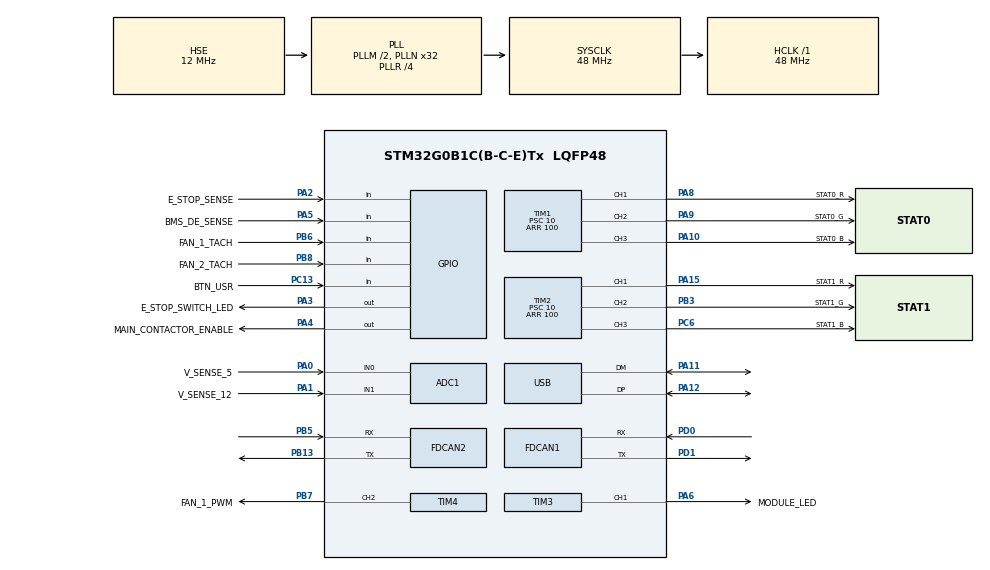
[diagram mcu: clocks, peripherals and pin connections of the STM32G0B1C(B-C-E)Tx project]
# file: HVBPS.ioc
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ADC1.NbrOfConversion=1
ADC1.NbrOfConversionFlag=0
ADC1.SelectedChannel=ADC_CHANNEL_0|ADC_CHANNEL_1|ADC_CHANNEL_TEMPSENSOR|ADC_CHANNEL_VREFINT
ADC1.Sequencer=NOT_FULLY_CONFIGURABLE
ADC1.master=1
FDCAN1.CalculateBaudRateNominal=250000
FDCAN1.CalculateTimeBitNominal=4000
FDCAN1.CalculateTimeQuantumNominal=250.0
FDCAN1.NominalPrescaler=12
FDCAN1.NominalTimeSeg1=13
FDCAN1.NominalTimeSeg2=2
FDCAN2.CalculateBaudRateNominal=500000
FDCAN2.CalculateTimeBitNominal=2000
FDCAN2.CalculateTimeQuantumNominal=125.0
FDCAN2.NominalPrescaler=6
FDCAN2.NominalTimeSeg1=13
FDCAN2.NominalTimeSeg2=2
Mcu.Family=STM32G0
Mcu.Name=STM32G0B1C(B-C-E)Tx
Mcu.Package=LQFP48
NVIC.TIM16_FDCAN_IT0_IRQn=true\:0\:0\:false\:false\:true\:true\:true\:true
NVIC.TIM17_FDCAN_IT1_IRQn=true\:0\:0\:false\:false\:true\:true\:true\:true
PA0.GPIO_Label=V_SENSE_5
PA0.Mode=IN0
PA0.Signal=ADC1_IN0
PA1.GPIO_Label=V_SENSE_12
PA1.Mode=IN1
PA1.Signal=ADC1_IN1
PA10.GPIO_Label=STAT0_B
PA10.Signal=S_TIM1_CH3
PA11\ [PA9].Mode=Device
PA11\ [PA9].Signal=USB_DM
PA12\ [PA10].Mode=Device
PA12\ [PA10].Signal=USB_DP
PA13.Mode=Serial_Wire
PA13.Signal=SYS_SWDIO
PA14-BOOT0.Mode=Serial_Wire
PA14-BOOT0.Signal=SYS_SWCLK
PA15.GPIO_Label=STAT1_R
PA15.Signal=S_TIM2_CH1_ETR
PA2.GPIO_Label=E_STOP_SENSE
PA2.Signal=GPIO_Input
PA3.GPIO_Label=E_STOP_SWITCH_LED
PA3.Signal=GPIO_Output
PA4.GPIO_Label=MAIN_CONTACTOR_ENABLE
PA4.Signal=GPIO_Output
PA5.GPIO_Label=BMS_DE_SENSE
PA5.Signal=GPIO_Input
PA6.GPIO_Label=MODULE_LED
PA6.Signal=S_TIM3_CH1
PA8.GPIO_Label=STAT0_R
PA8.Signal=S_TIM1_CH1
PA9.GPIO_Label=STAT0_G
PA9.Signal=S_TIM1_CH2
PB13.Mode=FDCAN_Activate
PB13.Signal=FDCAN2_TX
PB3.GPIO_Label=STAT1_G
PB3.Signal=S_TIM2_CH2
PB5.Mode=FDCAN_Activate
PB5.Signal=FDCAN2_RX
PB6.GPIO_Label=FAN_1_TACH
PB6.Signal=GPIO_Input
PB7.GPIO_Label=FAN_1_PWM
PB7.Signal=S_TIM4_CH2
PB8.GPIO_Label=FAN_2_TACH
PB8.Signal=GPIO_Input
PB9.GPIO_Label=FAN_2_PWM
PB9.Signal=S_TIM4_CH4
PC13.GPIO_Label=BTN_USR
PC13.Signal=GPIO_Input
PC14-OSC32_IN\ (PC14).Mode=LSE-External-Oscillator
PC14-OSC32_IN\ (PC14).Signal=RCC_OSC32_IN
PC15-OSC32_OUT\ (PC15).Mode=LSE-External-Oscillator
PC15-OSC32_OUT\ (PC15).Signal=RCC_OSC32_OUT
PC6.GPIO_Label=STAT1_B
PC6.Signal=S_TIM2_CH3
PD0.Mode=FDCAN_Activate
PD0.Signal=FDCAN1_RX
PD1.Mode=FDCAN_Activate
PD1.Signal=FDCAN1_TX
PF0-OSC_IN\ (PF0).Mode=HSE-External-Oscillator
PF0-OSC_IN\ (PF0).Signal=RCC_OSC_IN
PF1-OSC_OUT\ (PF1).Mode=HSE-External-Oscillator
PF1-OSC_OUT\ (PF1).Signal=RCC_OSC_OUT
ProjectManager.HeapSize=0x200
ProjectManager.StackSize=0x400
ProjectManager.TargetToolchain=CMake
RCC.ADCFreq_Value=48000000
RCC.AHBFreq_Value=48000000
RCC.CortexFreq_Value=48000000
RCC.EXTERNAL_CLOCK_VALUE=48000
RCC.HCLKFreq_Value=48000000
RCC.HSE_VALUE=12000000
RCC.HSI48_VALUE=48000000
RCC.HSI_VALUE=16000000
RCC.PLLM=RCC_PLLM_DIV2
RCC.PLLN=32
RCC.PLLR=RCC_PLLR_DIV4
RCC.PLLSourceVirtual=RCC_PLLSOURCE_HSE
RCC.SYSCLKFreq_VALUE=48000000
RCC.SYSCLKSource=RCC_SYSCLKSOURCE_PLLCLK
RCC.USBFreq_Value=48000000
RCC.VCOOutputFreq_Value=192000000
SH.S_TIM1_CH1.0=TIM1_CH1,PWM Generation1 CH1
SH.S_TIM1_CH2.0=TIM1_CH2,PWM Generation2 CH2
SH.S_TIM1_CH3.0=TIM1_CH3,PWM Generation3 CH3
SH.S_TIM2_CH1_ETR.0=TIM2_CH1,PWM Generation1 CH1
SH.S_TIM2_CH2.0=TIM2_CH2,PWM Generation2 CH2
SH.S_TIM2_CH3.0=TIM2_CH3,PWM Generation3 CH3
SH.S_TIM3_CH1.0=TIM3_CH1,PWM Generation1 CH1
SH.S_TIM4_CH2.0=TIM4_CH2,PWM Generation2 CH2
SH.S_TIM4_CH4.0=TIM4_CH4
TIM1.Channel-PWM\ Generation1\ CH1=TIM_CHANNEL_1
TIM1.Channel-PWM\ Generation2\ CH2=TIM_CHANNEL_2
TIM1.Channel-PWM\ Generation3\ CH3=TIM_CHANNEL_3
TIM1.Period=100
TIM1.Prescaler=10
TIM2.Channel-PWM\ Generation1\ CH1=TIM_CHANNEL_1
TIM2.Channel-PWM\ Generation2\ CH2=TIM_CHANNEL_2
TIM2.Channel-PWM\ Generation3\ CH3=TIM_CHANNEL_3
TIM2.Period=100
TIM2.Prescaler=10
TIM3.Channel-PWM\ Generation1\ CH1=TIM_CHANNEL_1
TIM3.Period=100
TIM3.Prescaler=10
TIM4.Channel-PWM\ Generation2\ CH2=TIM_CHANNEL_2
TIM4.Period=10
TIM4.Prescaler=192
VP_ADC1_TempSens_Input.Mode=IN-TempSens
VP_ADC1_Vref_Input.Mode=IN-Vrefint
VP_SYS_VS_DBSignals.Mode=DisableDeadBatterySignals
board=custom

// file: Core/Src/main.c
/* USER CODE BEGIN Header */
/**
  ******************************************************************************
  * @file           : main.c
  * @brief          : Main program body
  ******************************************************************************
  * @attention
  *
  * Copyright (c) 2026 STMicroelectronics.
  * All rights reserved.
  *
  * This software is licensed under terms that can be found in the LICENSE file
  * in the root directory of this software component.
  * If no LICENSE file comes with this software, it is provided AS-IS.
  *
  ******************************************************************************
  */
/* USER CODE END Header */
#include "main.h"

/* USER CODE BEGIN Includes */

#include "LV3_CAN.h"
#include "orion_bms_interface.h"
#include "lv3_can_bindings.h"

/* USER CODE END Includes */

/* USER CODE BEGIN PD */

// MODULE_LED breathes at this period (ms) while the contactor is disabled, mirroring
// the backplane-LED breathing effect from the original G4 HV-BPS.
#define MODULE_LED_BREATHE_PERIOD_MS 2000

#define LOCAL_CELL_OVERVOLTAGE 41900 // * 0.1 mV
#define LOCAL_CELL_UNDERVOLTAGE 28100  // * 0.1 mV
#define LOCAL_PACK_OVERCURRENT 799 // * 0.1 A
#define LOCAL_PACK_UNDERCURRENT -250 // * 0.1 A
#define LOCAL_PACK_MAX_DISCHARGE_TEMP 59 // C
#define LOCAL_PACK_MIN_DISCHARGE_TEMP 0 // C
#define LOCAL_PACK_MAX_CHARGE_TEMP 44 // C
#define LOCAL_PACK_MIN_CHARGE_TEMP 10 // C

/* USER CODE END PD */

ADC_HandleTypeDef hadc1;

FDCAN_HandleTypeDef hfdcan1;
FDCAN_HandleTypeDef hfdcan2;

TIM_HandleTypeDef htim1;
TIM_HandleTypeDef htim2;
TIM_HandleTypeDef htim3;
TIM_HandleTypeDef htim4;

PCD_HandleTypeDef hpcd_USB_DRD_FS;

/* USER CODE BEGIN PV */

// bitfield union for the possible faults; layout defined by the hv_fault XMacro
// in the LV3 CAN subsystem, and bound to the hv_fault CAN parameter via .raw
hvbps_faults_t hvbps_faults = {.raw = 0};

int faults_latched = 0; // whether faults have latched

/* USER CODE END PV */

void SystemClock_Config(void);
static void MX_GPIO_Init(void);
static void MX_FDCAN1_Init(void);
static void MX_USB_DRD_FS_PCD_Init(void);
static void MX_TIM1_Init(void);
static void MX_TIM2_Init(void);
static void MX_ADC1_Init(void);
static void MX_FDCAN2_Init(void);
static void MX_TIM4_Init(void);
static void MX_TIM3_Init(void);

/* USER CODE BEGIN 0 */

// local_contactor_enabled: latched on/off state requested locally over CAN
// (there's no physical BOOT0-style button on this board, unlike the old G4
// HV-BPS, so this can currently only be toggled via the
// toggle_hv_bps_local_enable CAN trigger).
uint32_t local_contactor_enabled = 0;

/* USER CODE END 0 */

int main(void)
{

  /* MCU Configuration--------------------------------------------------------*/

  /* Reset of all peripherals, Initializes the Flash interface and the Systick. */
  HAL_Init();

  /* Configure the system clock */
  SystemClock_Config();

  /* Initialize all configured peripherals */
  MX_GPIO_Init();
  MX_FDCAN1_Init();
  MX_USB_DRD_FS_PCD_Init();
  MX_TIM1_Init();
  MX_TIM2_Init();
  MX_ADC1_Init();
  MX_FDCAN2_Init();
  MX_TIM4_Init();
  MX_TIM3_Init();
  /* USER CODE BEGIN 2 */

  // STAT0
  HAL_TIM_PWM_Start(&htim1, TIM_CHANNEL_1);
  HAL_TIM_PWM_Start(&htim1, TIM_CHANNEL_2);
  HAL_TIM_PWM_Start(&htim1, TIM_CHANNEL_3);

  // MODULE_LED
  HAL_TIM_PWM_Start(&htim3, TIM_CHANNEL_1);

  // Fans: run at a fixed duty for now; tach inputs are wired but not yet read.
  HAL_TIM_PWM_Start(&htim4, TIM_CHANNEL_2);
  HAL_TIM_PWM_Start(&htim4, TIM_CHANNEL_4);
  __HAL_TIM_SET_COMPARE(&htim4, TIM_CHANNEL_2, 10);
  __HAL_TIM_SET_COMPARE(&htim4, TIM_CHANNEL_4, 10);

  GPIO_PinState last_usr_btn_state = HAL_GPIO_ReadPin(BTN_USR_GPIO_Port, BTN_USR_Pin);

  OrionBMS_Init();
  LV3_CAN_Init(12, LV3_CAN_BusMode_Normal, lv3_can_bindings, lv3_can_bindings_count);

  /* USER CODE END 2 */

  /* Infinite loop */
  while (1)
  {

    /* USER CODE BEGIN 3 */

    GPIO_PinState usr_btn_state = HAL_GPIO_ReadPin(BTN_USR_GPIO_Port, BTN_USR_Pin);
    if (usr_btn_state == GPIO_PIN_SET && last_usr_btn_state == GPIO_PIN_RESET) {
      local_contactor_enabled = !local_contactor_enabled;
    }
    last_usr_btn_state = usr_btn_state;

    // CAN trigger: toggle local contactor enable
    if (flag_toggle_local_enable) {
      flag_toggle_local_enable = 0;
      local_contactor_enabled = !local_contactor_enabled;
    }
    // CAN trigger: send OBD2 clear-faults to BMS
    if (flag_send_orion_clear) {
      flag_send_orion_clear = 0;
      OrionBMS_SendClearFaults();
    }

    // Unlatched faults are recomputed from scratch every iteration, so a fault
    // that goes away clears itself. Once latched, the fault word is frozen.
    if (!faults_latched) hvbps_faults.raw = 0;

    // BMS_DE_SENSE polarity carried over from the old G4 firmware's bms_dch_en
    // signal (active = discharge NOT allowed) — verify against schematic.
    GPIO_PinState bms_de_sense = HAL_GPIO_ReadPin(BMS_DE_SENSE_GPIO_Port, BMS_DE_SENSE_Pin);
    GPIO_PinState e_stop_sense = !HAL_GPIO_ReadPin(E_STOP_SENSE_GPIO_Port, E_STOP_SENSE_Pin);

    if (bms_de_sense) hvbps_faults.flags.orion_de_fault = 1;
    if (e_stop_sense) hvbps_faults.flags.e_stop_fault = 1;

    for (int i = 0; i < 24; i++) {
      if (cell_voltages[i] > LOCAL_CELL_OVERVOLTAGE) hvbps_faults.flags.cell_overvoltage = 1;
      if (cell_voltages[i] < LOCAL_CELL_UNDERVOLTAGE)
        hvbps_faults.flags.cell_undervoltage = 1;
    }

    if (reported_pack_current > LOCAL_PACK_OVERCURRENT) hvbps_faults.flags.pack_overcurrent = 1;
    if (reported_pack_current < LOCAL_PACK_UNDERCURRENT) hvbps_faults.flags.pack_undercurrent = 1;

    if (max_thermistor_temp > LOCAL_PACK_MAX_DISCHARGE_TEMP) hvbps_faults.flags.pack_overtemp_discharge = 1;
    if (min_thermistor_temp < LOCAL_PACK_MIN_DISCHARGE_TEMP) hvbps_faults.flags.pack_undertemp_discharge = 1;
    if (max_thermistor_temp > LOCAL_PACK_MAX_CHARGE_TEMP && reported_pack_current < -5) hvbps_faults.flags.pack_overtemp_charge = 1;
    if (min_thermistor_temp < LOCAL_PACK_MIN_CHARGE_TEMP && reported_pack_current < -5) hvbps_faults.flags.pack_undertemp_charge = 1;

    // A fault appearing while the contactor is closed latches it off. main_contactor_enabled
    // still holds last iteration's value here, i.e. whether the contactor is on right now.
    if (main_contactor_enabled && hvbps_faults.raw) faults_latched = 1;

    // Contactor: closed only when requested and completely fault-free.
    main_contactor_enabled = (local_contactor_enabled || lv3c_sw_hv_main) && !hvbps_faults.raw;
    HAL_GPIO_WritePin(MAIN_CONTACTOR_ENABLE_GPIO_Port, MAIN_CONTACTOR_ENABLE_Pin, main_contactor_enabled);

    // E-stop switch LED mirrors the sense pin (illuminated switch wiring TBD)
    HAL_GPIO_WritePin(E_STOP_SWITCH_LED_GPIO_Port, E_STOP_SWITCH_LED_Pin, e_stop_sense);

    // STAT0: red = faults latched, yellow = faults present, blue = contactor on,
    // green = healthy and idle.
    uint8_t stat_r = 0, stat_g = 0, stat_b = 0;
    if (faults_latched)              { stat_r = 100; }
    else if (hvbps_faults.raw)       { stat_r = 100; stat_g = 100; }
    else if (main_contactor_enabled) { stat_b = 100; }
    else                             { stat_g = 100; }
    __HAL_TIM_SET_COMPARE(&htim1, TIM_CHANNEL_2, stat_r);
    __HAL_TIM_SET_COMPARE(&htim1, TIM_CHANNEL_1, stat_g);
    __HAL_TIM_SET_COMPARE(&htim1, TIM_CHANNEL_3, stat_b);

    // MODULE_LED: fades to full brightness when the contactor is enabled, otherwise breathes
    unsigned int tick = HAL_GetTick();
    if (main_contactor_enabled) {
      __HAL_TIM_SET_COMPARE(&htim3, TIM_CHANNEL_1, 100);
    } else {
      unsigned int half = MODULE_LED_BREATHE_PERIOD_MS / 2;
      unsigned int phase = tick % MODULE_LED_BREATHE_PERIOD_MS;
      __HAL_TIM_SET_COMPARE(&htim3, TIM_CHANNEL_1, (phase < half ? phase : MODULE_LED_BREATHE_PERIOD_MS - phase) / (half / 100));
    }

    OrionBMS_Loop();
    LV3_CAN_Loop();
  }
  /* USER CODE END 3 */
}

void SystemClock_Config(void)
{
  RCC_OscInitTypeDef RCC_OscInitStruct = {0};
  RCC_ClkInitTypeDef RCC_ClkInitStruct = {0};

  /** Configure the main internal regulator output voltage
  */
  HAL_PWREx_ControlVoltageScaling(PWR_REGULATOR_VOLTAGE_SCALE1);

  /** Initializes the RCC Oscillators according to the specified parameters
  * in the RCC_OscInitTypeDef structure.
  */
  RCC_OscInitStruct.OscillatorType = RCC_OSCILLATORTYPE_HSE|RCC_OSCILLATORTYPE_HSI48;
  RCC_OscInitStruct.HSEState = RCC_HSE_ON;
  RCC_OscInitStruct.HSI48State = RCC_HSI48_ON;
  RCC_OscInitStruct.PLL.PLLState = RCC_PLL_ON;
  RCC_OscInitStruct.PLL.PLLSource = RCC_PLLSOURCE_HSE;
  RCC_OscInitStruct.PLL.PLLM = RCC_PLLM_DIV2;
  RCC_OscInitStruct.PLL.PLLN = 32;
  RCC_OscInitStruct.PLL.PLLP = RCC_PLLP_DIV2;
  RCC_OscInitStruct.PLL.PLLQ = RCC_PLLQ_DIV2;
  RCC_OscInitStruct.PLL.PLLR = RCC_PLLR_DIV4;
  if (HAL_RCC_OscConfig(&RCC_OscInitStruct) != HAL_OK)
  {
    Error_Handler();
  }

  /** Initializes the CPU, AHB and APB buses clocks
  */
  RCC_ClkInitStruct.ClockType = RCC_CLOCKTYPE_HCLK|RCC_CLOCKTYPE_SYSCLK
                              |RCC_CLOCKTYPE_PCLK1;
  RCC_ClkInitStruct.SYSCLKSource = RCC_SYSCLKSOURCE_PLLCLK;
  RCC_ClkInitStruct.AHBCLKDivider = RCC_SYSCLK_DIV1;
  RCC_ClkInitStruct.APB1CLKDivider = RCC_HCLK_DIV1;

  if (HAL_RCC_ClockConfig(&RCC_ClkInitStruct, FLASH_LATENCY_1) != HAL_OK)
  {
    Error_Handler();
  }
}

static void MX_ADC1_Init(void)
{

  ADC_ChannelConfTypeDef sConfig = {0};

  /** Configure the global features of the ADC (Clock, Resolution, Data Alignment and number of conversion)
  */
  hadc1.Instance = ADC1;
  hadc1.Init.ClockPrescaler = ADC_CLOCK_SYNC_PCLK_DIV2;
  hadc1.Init.Resolution = ADC_RESOLUTION_12B;
  hadc1.Init.DataAlign = ADC_DATAALIGN_RIGHT;
  hadc1.Init.ScanConvMode = ADC_SCAN_SEQ_FIXED;
  hadc1.Init.EOCSelection = ADC_EOC_SINGLE_CONV;
  hadc1.Init.LowPowerAutoWait = DISABLE;
  hadc1.Init.LowPowerAutoPowerOff = DISABLE;
  hadc1.Init.ContinuousConvMode = DISABLE;
  hadc1.Init.NbrOfConversion = 1;
  hadc1.Init.DiscontinuousConvMode = DISABLE;
  hadc1.Init.ExternalTrigConv = ADC_SOFTWARE_START;
  hadc1.Init.ExternalTrigConvEdge = ADC_EXTERNALTRIGCONVEDGE_NONE;
  hadc1.Init.DMAContinuousRequests = DISABLE;
  hadc1.Init.Overrun = ADC_OVR_DATA_PRESERVED;
  hadc1.Init.SamplingTimeCommon1 = ADC_SAMPLETIME_1CYCLE_5;
  hadc1.Init.OversamplingMode = DISABLE;
  hadc1.Init.TriggerFrequencyMode = ADC_TRIGGER_FREQ_HIGH;
  if (HAL_ADC_Init(&hadc1) != HAL_OK)
  {
    Error_Handler();
  }

  /** Configure Regular Channel
  */
  sConfig.Channel = ADC_CHANNEL_0;
  sConfig.Rank = ADC_RANK_CHANNEL_NUMBER;
  if (HAL_ADC_ConfigChannel(&hadc1, &sConfig) != HAL_OK)
  {
    Error_Handler();
  }

  /** Configure Regular Channel
  */
  sConfig.Channel = ADC_CHANNEL_1;
  if (HAL_ADC_ConfigChannel(&hadc1, &sConfig) != HAL_OK)
  {
    Error_Handler();
  }

  /** Configure Regular Channel
  */
  sConfig.Channel = ADC_CHANNEL_TEMPSENSOR;
  if (HAL_ADC_ConfigChannel(&hadc1, &sConfig) != HAL_OK)
  {
    Error_Handler();
  }

  /** Configure Regular Channel
  */
  sConfig.Channel = ADC_CHANNEL_VREFINT;
  if (HAL_ADC_ConfigChannel(&hadc1, &sConfig) != HAL_OK)
  {
    Error_Handler();
  }

}

static void MX_FDCAN1_Init(void)
{

  hfdcan1.Instance = FDCAN1;
  hfdcan1.Init.ClockDivider = FDCAN_CLOCK_DIV1;
  hfdcan1.Init.FrameFormat = FDCAN_FRAME_CLASSIC;
  hfdcan1.Init.Mode = FDCAN_MODE_NORMAL;
  hfdcan1.Init.AutoRetransmission = DISABLE;
  hfdcan1.Init.TransmitPause = DISABLE;
  hfdcan1.Init.ProtocolException = DISABLE;
  hfdcan1.Init.NominalPrescaler = 12;
  hfdcan1.Init.NominalSyncJumpWidth = 1;
  hfdcan1.Init.NominalTimeSeg1 = 13;
  hfdcan1.Init.NominalTimeSeg2 = 2;
  hfdcan1.Init.DataPrescaler = 1;
  hfdcan1.Init.DataSyncJumpWidth = 1;
  hfdcan1.Init.DataTimeSeg1 = 1;
  hfdcan1.Init.DataTimeSeg2 = 1;
  hfdcan1.Init.StdFiltersNbr = 0;
  hfdcan1.Init.ExtFiltersNbr = 0;
  hfdcan1.Init.TxFifoQueueMode = FDCAN_TX_FIFO_OPERATION;
  if (HAL_FDCAN_Init(&hfdcan1) != HAL_OK)
  {
    Error_Handler();
  }

}

static void MX_FDCAN2_Init(void)
{

  hfdcan2.Instance = FDCAN2;
  hfdcan2.Init.ClockDivider = FDCAN_CLOCK_DIV1;
  hfdcan2.Init.FrameFormat = FDCAN_FRAME_CLASSIC;
  hfdcan2.Init.Mode = FDCAN_MODE_NORMAL;
  hfdcan2.Init.AutoRetransmission = DISABLE;
  hfdcan2.Init.TransmitPause = DISABLE;
  hfdcan2.Init.ProtocolException = DISABLE;
  hfdcan2.Init.NominalPrescaler = 6;
  hfdcan2.Init.NominalSyncJumpWidth = 1;
  hfdcan2.Init.NominalTimeSeg1 = 13;
  hfdcan2.Init.NominalTimeSeg2 = 2;
  hfdcan2.Init.DataPrescaler = 1;
  hfdcan2.Init.DataSyncJumpWidth = 1;
  hfdcan2.Init.DataTimeSeg1 = 1;
  hfdcan2.Init.DataTimeSeg2 = 1;
  hfdcan2.Init.StdFiltersNbr = 0;
  hfdcan2.Init.ExtFiltersNbr = 0;
  hfdcan2.Init.TxFifoQueueMode = FDCAN_TX_FIFO_OPERATION;
  if (HAL_FDCAN_Init(&hfdcan2) != HAL_OK)
  {
    Error_Handler();
  }

}

static void MX_TIM1_Init(void)
{

  TIM_MasterConfigTypeDef sMasterConfig = {0};
  TIM_OC_InitTypeDef sConfigOC = {0};
  TIM_BreakDeadTimeConfigTypeDef sBreakDeadTimeConfig = {0};

  htim1.Instance = TIM1;
  htim1.Init.Prescaler = 10;
  htim1.Init.CounterMode = TIM_COUNTERMODE_UP;
  htim1.Init.Period = 100;
  htim1.Init.ClockDivision = TIM_CLOCKDIVISION_DIV1;
  htim1.Init.RepetitionCounter = 0;
  htim1.Init.AutoReloadPreload = TIM_AUTORELOAD_PRELOAD_DISABLE;
  if (HAL_TIM_PWM_Init(&htim1) != HAL_OK)
  {
    Error_Handler();
  }
  sMasterConfig.MasterOutputTrigger = TIM_TRGO_RESET;
  sMasterConfig.MasterOutputTrigger2 = TIM_TRGO2_RESET;
  sMasterConfig.MasterSlaveMode = TIM_MASTERSLAVEMODE_DISABLE;
  if (HAL_TIMEx_MasterConfigSynchronization(&htim1, &sMasterConfig) != HAL_OK)
  {
    Error_Handler();
  }
  sConfigOC.OCMode = TIM_OCMODE_PWM1;
  sConfigOC.Pulse = 0;
  sConfigOC.OCPolarity = TIM_OCPOLARITY_HIGH;
  sConfigOC.OCNPolarity = TIM_OCNPOLARITY_HIGH;
  sConfigOC.OCFastMode = TIM_OCFAST_DISABLE;
  sConfigOC.OCIdleState = TIM_OCIDLESTATE_RESET;
  sConfigOC.OCNIdleState = TIM_OCNIDLESTATE_RESET;
  if (HAL_TIM_PWM_ConfigChannel(&htim1, &sConfigOC, TIM_CHANNEL_1) != HAL_OK)
  {
    Error_Handler();
  }
  if (HAL_TIM_PWM_ConfigChannel(&htim1, &sConfigOC, TIM_CHANNEL_2) != HAL_OK)
  {
    Error_Handler();
  }
  if (HAL_TIM_PWM_ConfigChannel(&htim1, &sConfigOC, TIM_CHANNEL_3) != HAL_OK)
  {
    Error_Handler();
  }
  sBreakDeadTimeConfig.OffStateRunMode = TIM_OSSR_DISABLE;
  sBreakDeadTimeConfig.OffStateIDLEMode = TIM_OSSI_DISABLE;
  sBreakDeadTimeConfig.LockLevel = TIM_LOCKLEVEL_OFF;
  sBreakDeadTimeConfig.DeadTime = 0;
  sBreakDeadTimeConfig.BreakState = TIM_BREAK_DISABLE;
  sBreakDeadTimeConfig.BreakPolarity = TIM_BREAKPOLARITY_HIGH;
  sBreakDeadTimeConfig.BreakFilter = 0;
  sBreakDeadTimeConfig.BreakAFMode = TIM_BREAK_AFMODE_INPUT;
  sBreakDeadTimeConfig.Break2State = TIM_BREAK2_DISABLE;
  sBreakDeadTimeConfig.Break2Polarity = TIM_BREAK2POLARITY_HIGH;
  sBreakDeadTimeConfig.Break2Filter = 0;
  sBreakDeadTimeConfig.Break2AFMode = TIM_BREAK_AFMODE_INPUT;
  sBreakDeadTimeConfig.AutomaticOutput = TIM_AUTOMATICOUTPUT_DISABLE;
  if (HAL_TIMEx_ConfigBreakDeadTime(&htim1, &sBreakDeadTimeConfig) != HAL_OK)
  {
    Error_Handler();
  }
  HAL_TIM_MspPostInit(&htim1);

}

static void MX_TIM2_Init(void)
{

  TIM_MasterConfigTypeDef sMasterConfig = {0};
  TIM_OC_InitTypeDef sConfigOC = {0};

  htim2.Instance = TIM2;
  htim2.Init.Prescaler = 10;
  htim2.Init.CounterMode = TIM_COUNTERMODE_UP;
  htim2.Init.Period = 100;
  htim2.Init.ClockDivision = TIM_CLOCKDIVISION_DIV1;
  htim2.Init.AutoReloadPreload = TIM_AUTORELOAD_PRELOAD_DISABLE;
  if (HAL_TIM_PWM_Init(&htim2) != HAL_OK)
  {
    Error_Handler();
  }
  sMasterConfig.MasterOutputTrigger = TIM_TRGO_RESET;
  sMasterConfig.MasterSlaveMode = TIM_MASTERSLAVEMODE_DISABLE;
  if (HAL_TIMEx_MasterConfigSynchronization(&htim2, &sMasterConfig) != HAL_OK)
  {
    Error_Handler();
  }
  sConfigOC.OCMode = TIM_OCMODE_PWM1;
  sConfigOC.Pulse = 0;
  sConfigOC.OCPolarity = TIM_OCPOLARITY_HIGH;
  sConfigOC.OCFastMode = TIM_OCFAST_DISABLE;
  if (HAL_TIM_PWM_ConfigChannel(&htim2, &sConfigOC, TIM_CHANNEL_1) != HAL_OK)
  {
    Error_Handler();
  }
  if (HAL_TIM_PWM_ConfigChannel(&htim2, &sConfigOC, TIM_CHANNEL_2) != HAL_OK)
  {
    Error_Handler();
  }
  if (HAL_TIM_PWM_ConfigChannel(&htim2, &sConfigOC, TIM_CHANNEL_3) != HAL_OK)
  {
    Error_Handler();
  }
  HAL_TIM_MspPostInit(&htim2);

}

static void MX_TIM3_Init(void)
{

  TIM_MasterConfigTypeDef sMasterConfig = {0};
  TIM_OC_InitTypeDef sConfigOC = {0};

  htim3.Instance = TIM3;
  htim3.Init.Prescaler = 10;
  htim3.Init.CounterMode = TIM_COUNTERMODE_UP;
  htim3.Init.Period = 100;
  htim3.Init.ClockDivision = TIM_CLOCKDIVISION_DIV1;
  htim3.Init.AutoReloadPreload = TIM_AUTORELOAD_PRELOAD_DISABLE;
  if (HAL_TIM_PWM_Init(&htim3) != HAL_OK)
  {
    Error_Handler();
  }
  sMasterConfig.MasterOutputTrigger = TIM_TRGO_RESET;
  sMasterConfig.MasterSlaveMode = TIM_MASTERSLAVEMODE_DISABLE;
  if (HAL_TIMEx_MasterConfigSynchronization(&htim3, &sMasterConfig) != HAL_OK)
  {
    Error_Handler();
  }
  sConfigOC.OCMode = TIM_OCMODE_PWM1;
  sConfigOC.Pulse = 0;
  sConfigOC.OCPolarity = TIM_OCPOLARITY_HIGH;
  sConfigOC.OCFastMode = TIM_OCFAST_DISABLE;
  if (HAL_TIM_PWM_ConfigChannel(&htim3, &sConfigOC, TIM_CHANNEL_1) != HAL_OK)
  {
    Error_Handler();
  }
  HAL_TIM_MspPostInit(&htim3);

}

static void MX_TIM4_Init(void)
{

  TIM_MasterConfigTypeDef sMasterConfig = {0};
  TIM_OC_InitTypeDef sConfigOC = {0};

  htim4.Instance = TIM4;
  htim4.Init.Prescaler = 192;
  htim4.Init.CounterMode = TIM_COUNTERMODE_UP;
  htim4.Init.Period = 10;
  htim4.Init.ClockDivision = TIM_CLOCKDIVISION_DIV1;
  htim4.Init.AutoReloadPreload = TIM_AUTORELOAD_PRELOAD_DISABLE;
  if (HAL_TIM_PWM_Init(&htim4) != HAL_OK)
  {
    Error_Handler();
  }
  sMasterConfig.MasterOutputTrigger = TIM_TRGO_RESET;
  sMasterConfig.MasterSlaveMode = TIM_MASTERSLAVEMODE_DISABLE;
  if (HAL_TIMEx_MasterConfigSynchronization(&htim4, &sMasterConfig) != HAL_OK)
  {
    Error_Handler();
  }
  sConfigOC.OCMode = TIM_OCMODE_PWM1;
  sConfigOC.Pulse = 0;
  sConfigOC.OCPolarity = TIM_OCPOLARITY_HIGH;
  sConfigOC.OCFastMode = TIM_OCFAST_DISABLE;
  if (HAL_TIM_PWM_ConfigChannel(&htim4, &sConfigOC, TIM_CHANNEL_2) != HAL_OK)
  {
    Error_Handler();
  }
  HAL_TIM_MspPostInit(&htim4);

}

static void MX_USB_DRD_FS_PCD_Init(void)
{

  hpcd_USB_DRD_FS.Instance = USB_DRD_FS;
  hpcd_USB_DRD_FS.Init.dev_endpoints = 8;
  hpcd_USB_DRD_FS.Init.Host_channels = 8;
  hpcd_USB_DRD_FS.Init.speed = PCD_SPEED_FULL;
  hpcd_USB_DRD_FS.Init.phy_itface = PCD_PHY_EMBEDDED;
  hpcd_USB_DRD_FS.Init.Sof_enable = DISABLE;
  hpcd_USB_DRD_FS.Init.low_power_enable = DISABLE;
  hpcd_USB_DRD_FS.Init.lpm_enable = DISABLE;
  hpcd_USB_DRD_FS.Init.battery_charging_enable = DISABLE;
  hpcd_USB_DRD_FS.Init.vbus_sensing_enable = DISABLE;
  hpcd_USB_DRD_FS.Init.bulk_doublebuffer_enable = DISABLE;
  hpcd_USB_DRD_FS.Init.iso_singlebuffer_enable = DISABLE;
  if (HAL_PCD_Init(&hpcd_USB_DRD_FS) != HAL_OK)
  {
    Error_Handler();
  }

}

static void MX_GPIO_Init(void)
{
  GPIO_InitTypeDef GPIO_InitStruct = {0};

  /* GPIO Ports Clock Enable */
  __HAL_RCC_GPIOC_CLK_ENABLE();
  __HAL_RCC_GPIOF_CLK_ENABLE();
  __HAL_RCC_GPIOA_CLK_ENABLE();
  __HAL_RCC_GPIOB_CLK_ENABLE();
  __HAL_RCC_GPIOD_CLK_ENABLE();

  /*Configure GPIO pin Output Level */
  HAL_GPIO_WritePin(GPIOA, E_STOP_SWITCH_LED_Pin|MAIN_CONTACTOR_ENABLE_Pin, GPIO_PIN_RESET);

  /*Configure GPIO pin : BTN_USR_Pin */
  GPIO_InitStruct.Pin = BTN_USR_Pin;
  GPIO_InitStruct.Mode = GPIO_MODE_INPUT;
  GPIO_InitStruct.Pull = GPIO_NOPULL;
  HAL_GPIO_Init(BTN_USR_GPIO_Port, &GPIO_InitStruct);

  /*Configure GPIO pins : E_STOP_SENSE_Pin BMS_DE_SENSE_Pin */
  GPIO_InitStruct.Pin = E_STOP_SENSE_Pin|BMS_DE_SENSE_Pin;
  GPIO_InitStruct.Mode = GPIO_MODE_INPUT;
  GPIO_InitStruct.Pull = GPIO_NOPULL;
  HAL_GPIO_Init(GPIOA, &GPIO_InitStruct);

  /*Configure GPIO pins : E_STOP_SWITCH_LED_Pin MAIN_CONTACTOR_ENABLE_Pin */
  GPIO_InitStruct.Pin = E_STOP_SWITCH_LED_Pin|MAIN_CONTACTOR_ENABLE_Pin;
  GPIO_InitStruct.Mode = GPIO_MODE_OUTPUT_PP;
  GPIO_InitStruct.Pull = GPIO_NOPULL;
  GPIO_InitStruct.Speed = GPIO_SPEED_FREQ_LOW;
  HAL_GPIO_Init(GPIOA, &GPIO_InitStruct);

  /*Configure GPIO pins : FAN_1_TACH_Pin FAN_2_TACH_Pin */
  GPIO_InitStruct.Pin = FAN_1_TACH_Pin|FAN_2_TACH_Pin;
  GPIO_InitStruct.Mode = GPIO_MODE_INPUT;
  GPIO_InitStruct.Pull = GPIO_NOPULL;
  HAL_GPIO_Init(GPIOB, &GPIO_InitStruct);

}

void Error_Handler(void)
{
  __disable_irq();
  while (1)
  {
  }
}
